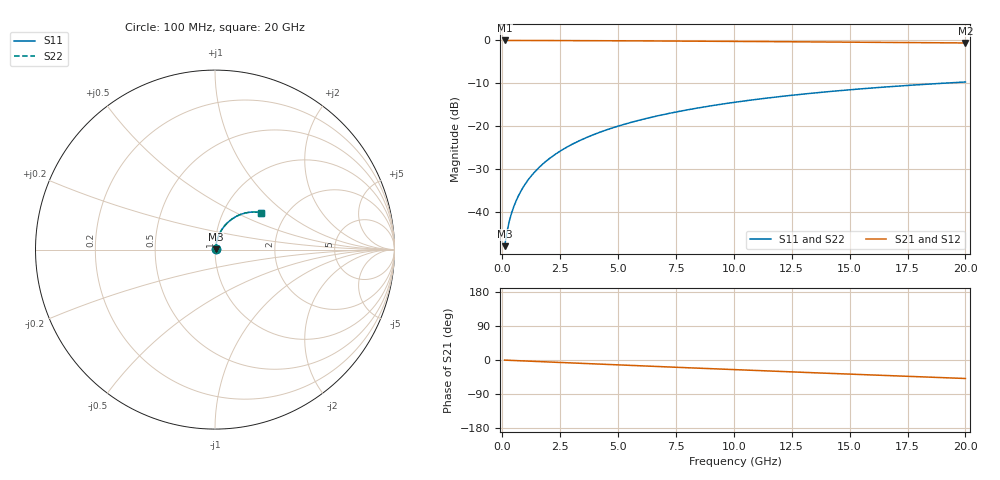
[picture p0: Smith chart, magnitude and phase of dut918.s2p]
! Touchstone file exported from HFSS 2026.1.0
!  File:  C:/ffzhzh/LocalFiles/Ansys_Project_Files/temp_train_TMRDL_918_1783158129_43440.aedt
!  Generated:  05:43:19 PM Jul  4, 2026
!  Design:  TMRDL
!  Project:  temp_train_TMRDL_918_1783158129_43440
! Variables:
!  h_bsmrdl = 2um
!  h_ox = 20um
!  h_rdl = 5um
!  h_sub = 80um
!  h_tmrdl = 3.5um
!  h_tsv = 80um
!  h_via = 3um
!  l_bsmrdl = 300um
!  l_sub = 1181.64um
!  l_tmrdl = 781.64um
!  m_sub = 200um
!  pitch = 45.62um
!  r_tsv = 6um
!  s_tmrdl = 10um
!  w_bsmrdl = 18um
!  w_sub = 500um
!  w_tmrdl = 27.19um
!  x_tsv_center1 = 795.235um
!  x_tsv_center2 = 1113.235um
!  x_tsv_center3 = 1922.065um
!  x_tsv_center4 = 2240.065um
!  x_tsv_center5 = 3048.895um
!  x_tsv_center6 = 3366.895um
# GHz S MA R 50.000000
! Terminal data exported
! Port[1] = TM_RDL1_1_T1
! Port[2] = TM_RDL1_1_T2
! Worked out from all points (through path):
!   200 points, 100 MHz to 20 GHz, reference 50 ohm
!   highest |S21| = -0.03 dB at 100 MHz (marker M1); lowest = -0.6 dB at 20 GHz (marker M2)
!   group delay of S21, straight-line fit = 6.77 ps
!   lowest |S11| = -48.0 dB at 100 MHz (marker M3), VSWR 1.01, Z = 50.3 + j0.242 ohm
!   |S11| at or under -10 dB: start of sweep to 19.03 GHz
!   |S22| runs from -48.0 to -9.7 dB; largest |S21 - S12| = 3.1e-15
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0.1  0.003995 37.1  0.9968 -0.3  0.9968 -0.3  0.003995 37.1
! Gamma 0 0 0 0
! Port Impedance 50 0 50 0
0.2  0.00582 53.4  0.9966 -0.6  0.9966 -0.6  0.00582 53.4
0.3  0.007769 60.9  0.9963 -0.8  0.9963 -0.8  0.00777 60.9
0.4  0.009703 65.3  0.9961 -1.1  0.9961 -1.1  0.009703 65.3
0.5  0.01162 68.3  0.9959 -1.3  0.9959 -1.3  0.01162 68.3
0.6  0.01354 70.5  0.9958 -1.6  0.9958 -1.6  0.01354 70.5
0.8  0.01742 73.5  0.9956 -2.1  0.9956 -2.1  0.01742 73.5
1.1  0.02331 76.0  0.9953 -2.9  0.9953 -2.9  0.02331 76.0
1.3  0.02727 77.0  0.9952 -3.4  0.9952 -3.4  0.02727 77.0
1.6  0.03325 77.7  0.9949 -4.2  0.9949 -4.2  0.03325 77.7
2.1  0.04324 78.0  0.9943 -5.5  0.9943 -5.5  0.04324 78.0
2.7  0.0552 77.6  0.9934 -7.0  0.9934 -7.0  0.0552 77.6
3.5  0.07101 76.4  0.9919 -9.1  0.9919 -9.1  0.07101 76.4
4.2  0.08467 75.0  0.9904 -10.9  0.9904 -10.9  0.08467 75.0
5  0.1 73.3  0.9884 -12.9  0.9884 -12.9  0.1 73.3
5.9  0.117 71.3  0.9859 -15.2  0.9859 -15.2  0.117 71.3
6.8  0.1336 69.2  0.9832 -17.4  0.9832 -17.4  0.1336 69.2
8.3  0.1603 65.7  0.9783 -21.2  0.9783 -21.2  0.1603 65.7
10.1  0.1909 61.5  0.9718 -25.6  0.9718 -25.6  0.1909 61.5
13.4  0.2425 53.9  0.959 -33.5  0.959 -33.5  0.2425 53.9
16.7  0.288 46.4  0.9455 -41.3  0.9455 -41.3  0.288 46.4
20  0.327 39.1  0.9324 -48.8  0.9324 -48.8  0.327 39.1
